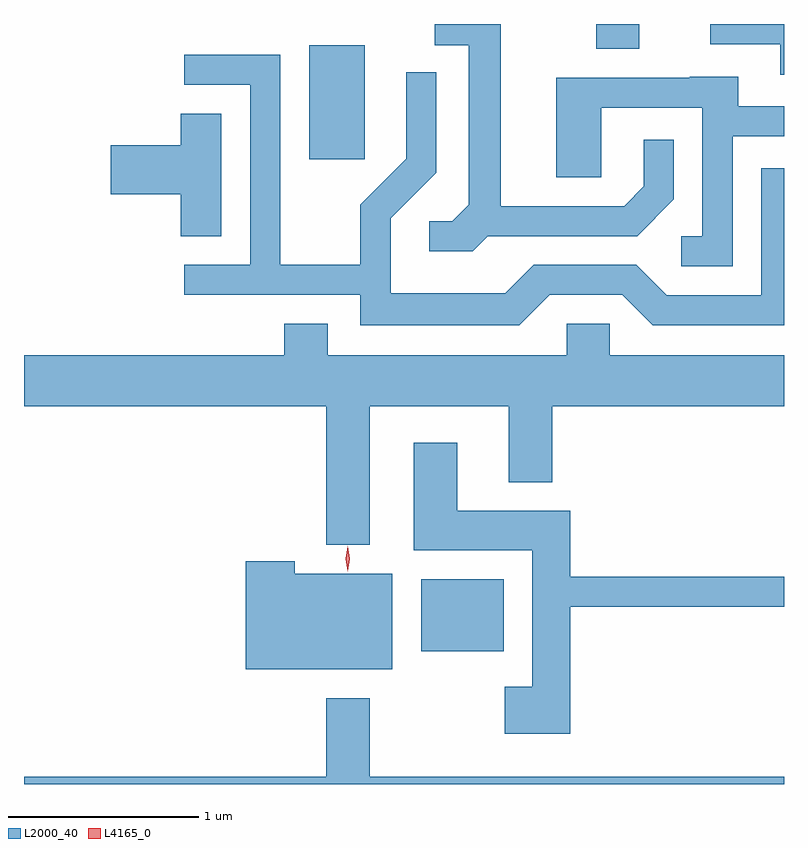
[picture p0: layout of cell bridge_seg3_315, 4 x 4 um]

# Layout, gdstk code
import gdstk
lib = gdstk.Library(unit=1e-6, precision=1e-09)
def R(c, l, rs):  # rectangles x0, y0, x1, y1
    for r in rs: c.add(gdstk.rectangle(r[:2], r[2:], *l))
def P(c, l, *ps):  # polygons
    for p in ps: c.add(gdstk.Polygon(p, *l))
L2000_40 = (2000, 40)
L4165_0 = (4165, 0)

bridge_seg3_315 = lib.new_cell('bridge_seg3_315')
R(bridge_seg3_315, L2000_40, [(528.841,1158.026,529.274,1158.404), (528.251,1160.616,528.544,1161.214), (529.761,1161.196,529.989,1161.327)])
P(bridge_seg3_315, L2000_40, [(529.192,1160.211),(529.977,1160.211),(530.169,1160.404),(530.169,1160.718),(530.011,1160.718),(530.011,1160.472),(529.909,1160.369),(529.259,1160.369),(529.259,1161.327),(528.913,1161.327),(528.913,1161.216),(529.091,1161.216),(529.091,1160.377),(529.004,1160.289),(528.883,1160.289),(528.883,1160.131),(529.112,1160.131)],
  [(530.75,1161.327),(530.363,1161.327),(530.363,1161.221),(530.731,1161.221),(530.731,1161.061),(530.75,1161.061)],
  [(529.517,1159.901),(529.899,1159.901),(530.059,1159.741),(530.75,1159.741),(530.75,1160.569),(530.631,1160.569),(530.631,1159.899),(530.132,1159.899),(529.972,1160.059),(529.434,1160.059),(529.284,1159.909),(528.679,1159.909),(528.679,1160.304),(528.919,1160.544),(528.919,1161.073),(528.761,1161.073),(528.761,1160.617),(528.521,1160.377),(528.521,1160.059),(528.099,1160.059),(528.099,1161.164),(527.593,1161.164),(527.593,1161.006),(527.941,1161.006),(527.941,1160.059),(527.593,1160.059),(527.593,1159.901),(528.521,1159.901),(528.521,1159.741),(529.357,1159.741)],
  [(530.479,1160.736),(530.75,1160.736),(530.75,1160.894),(530.509,1160.894),(530.509,1161.049),(530.255,1161.049),(530.255,1161.044),(529.551,1161.044),(529.551,1160.521),(529.789,1160.521),(529.789,1160.886),(530.321,1160.886),(530.321,1160.209),(530.208,1160.209),(530.208,1160.051),(530.479,1160.051)],
  [(527.789,1160.854),(527.576,1160.854),(527.576,1160.689),(527.206,1160.689),(527.206,1160.431),(527.576,1160.431),(527.576,1160.211),(527.789,1160.211)],
  [(528.569,1159.316),(529.301,1159.316),(529.301,1158.916),(529.529,1158.916),(529.529,1159.316),(530.75,1159.316),(530.75,1159.584),(529.834,1159.584),(529.834,1159.749),(529.606,1159.749),(529.606,1159.584),(528.349,1159.584),(528.349,1159.749),(528.121,1159.749),(528.121,1159.584),(526.75,1159.584),(526.75,1159.316),(528.341,1159.316),(528.341,1158.586),(528.569,1158.586)],
  [(529.624,1158.261),(530.75,1158.261),(530.75,1158.419),(529.624,1158.419),(529.624,1158.764),(529.029,1158.764),(529.029,1159.124),(528.801,1159.124),(528.801,1158.556),(529.426,1158.556),(529.426,1157.839),(529.281,1157.839),(529.281,1157.591),(529.624,1157.591)],
  [(528.689,1158.434),(528.174,1158.434),(528.174,1158.499),(527.916,1158.499),(527.916,1157.931),(528.689,1157.931)],
  [(530.75,1157.364),(528.569,1157.364),(528.569,1157.779),(528.341,1157.779),(528.341,1157.364),(526.75,1157.364),(526.75,1157.327),(530.75,1157.327)])
P(bridge_seg3_315, L4165_0, [(528.453,1158.446),(528.453,1158.446),(528.444,1158.513),(528.454,1158.579),(528.454,1158.579),(528.455,1158.579),(528.464,1158.512),(528.454,1158.446)])

lib.write_gds('bridge_seg3_315.gds')
